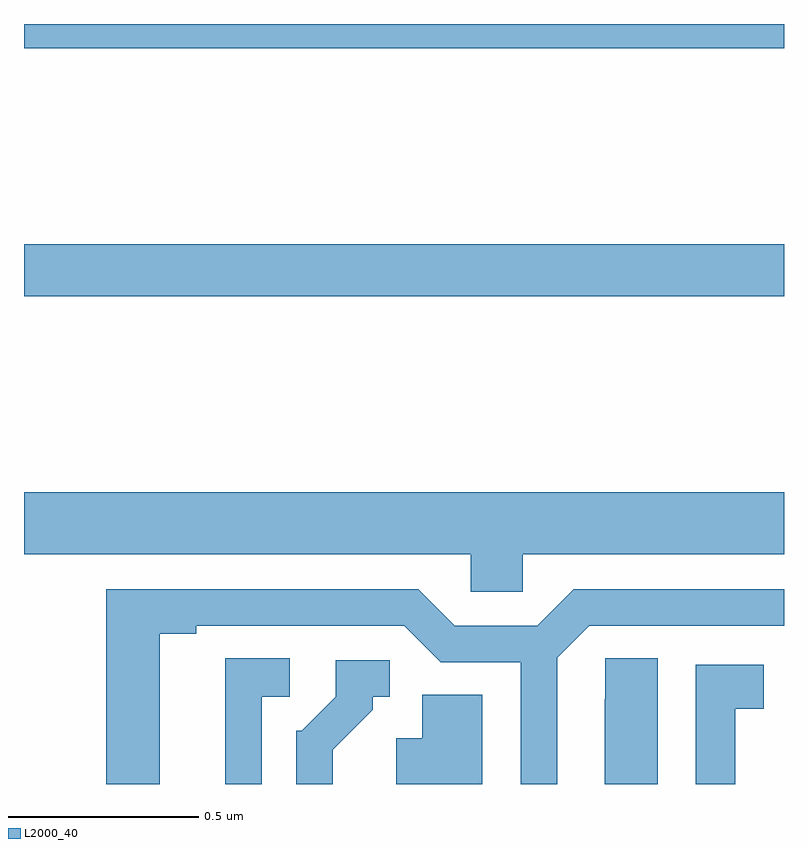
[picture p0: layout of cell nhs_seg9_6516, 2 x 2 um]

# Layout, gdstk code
import gdstk
lib = gdstk.Library(unit=1e-6, precision=1e-09)
def R(c, l, rs):  # rectangles x0, y0, x1, y1
    for r in rs: c.add(gdstk.rectangle(r[:2], r[2:], *l))
def P(c, l, *ps):  # polygons
    for p in ps: c.add(gdstk.Polygon(p, *l))
L2000_40 = (2000, 40)

nhs_seg9_6516 = lib.new_cell('nhs_seg9_6516')
R(nhs_seg9_6516, L2000_40, [(193,1179.784,195,1179.92), (193,1180.436,195,1180.5)])
P(nhs_seg9_6516, L2000_40, [(194.313,1179.104),(195,1179.104),(195,1179.268),(193,1179.268),(193,1179.104),(194.175,1179.104),(194.175,1179.006),(194.313,1179.006)],
  [(193.357,1178.896),(193.453,1178.896),(193.453,1178.916),(194.001,1178.916),(194.097,1178.82),(194.307,1178.82),(194.307,1178.5),(194.403,1178.5),(194.403,1178.832),(194.487,1178.916),(195,1178.916),(195,1179.012),(194.447,1179.012),(194.351,1178.916),(194.133,1178.916),(194.037,1179.012),(193.217,1179.012),(193.217,1178.5),(193.357,1178.5)],
  [(193.626,1178.73),(193.699,1178.73),(193.699,1178.831),(193.529,1178.831),(193.529,1178.5),(193.626,1178.5)],
  [(194.668,1178.831),(194.529,1178.831),(194.529,1178.723),(194.528,1178.723),(194.528,1178.5),(194.668,1178.5)],
  [(193.813,1178.59),(193.918,1178.695),(193.918,1178.73),(193.963,1178.73),(193.963,1178.826),(193.821,1178.826),(193.821,1178.73),(193.731,1178.64),(193.716,1178.64),(193.716,1178.5),(193.813,1178.5)],
  [(194.872,1178.698),(194.947,1178.698),(194.947,1178.814),(194.768,1178.814),(194.768,1178.5),(194.872,1178.5)],
  [(194.206,1178.735),(194.048,1178.735),(194.048,1178.62),(193.979,1178.62),(193.979,1178.5),(194.206,1178.5)])

lib.write_gds('nhs_seg9_6516.gds')
